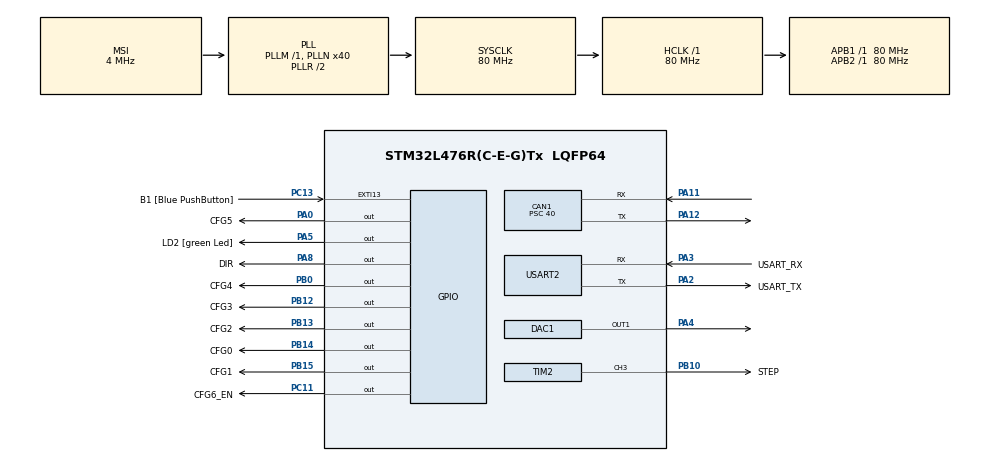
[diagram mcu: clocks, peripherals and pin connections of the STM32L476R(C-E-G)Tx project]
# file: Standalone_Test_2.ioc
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CAN1.BS1=CAN_BS1_8TQ
CAN1.BS2=CAN_BS2_7TQ
CAN1.CalculateBaudRate=125000
CAN1.CalculateTimeBit=8000
CAN1.CalculateTimeQuantum=500.0
CAN1.Prescaler=40
DAC1.DAC_Trigger-DAC_OUT1=DAC_TRIGGER_NONE
FREERTOS.BinarySemaphores01=myBinarySem01,Dynamic,NULL;myBinarySem02,Dynamic,NULL;myBinarySem03,Dynamic,NULL;myBinarySem04,Dynamic,NULL
FREERTOS.Tasks01=defaultTask,24,128,StartDefaultTask,Default,NULL,Dynamic,NULL,NULL;DeferredTask1,32,128,Interpret_CAN_Msg_Id1,Default,NULL,Dynamic,NULL,NULL;DeferredTask2,35,128,Update_Stepper_Motor_Task,Default,NULL,Dynamic,NULL,NULL;DeferredTask3,32,128,Interpret_CAN_Msg_Id2,Default,NULL,Dynamic,NULL,NULL;DeferredTask4,35,128,Update_Standalone_Op_Task,Default,NULL,Dynamic,NULL,NULL
FREERTOS.configIDLE_SHOULD_YIELD=0
FREERTOS.configTOTAL_HEAP_SIZE=4000
FREERTOS.configUSE_NEWLIB_REENTRANT=1
FREERTOS.configUSE_TASK_NOTIFICATIONS=1
Mcu.Family=STM32L4
Mcu.Name=STM32L476R(C-E-G)Tx
Mcu.Package=LQFP64
NVIC.CAN1_RX0_IRQn=true\:6\:0\:true\:false\:true\:true\:true\:true\:true
NVIC.CAN1_RX1_IRQn=true\:6\:0\:true\:false\:true\:true\:true\:true\:true
NVIC.PriorityGroup=NVIC_PRIORITYGROUP_4
NVIC.TIM7_IRQn=true\:15\:0\:true\:false\:true\:false\:false\:true\:true
NVIC.TimeBase=TIM7_IRQn
NVIC.TimeBaseIP=TIM7
PA0.GPIO_Label=CFG5
PA0.GPIO_Speed=GPIO_SPEED_FREQ_MEDIUM
PA0.PinState=GPIO_PIN_SET
PA0.Signal=GPIO_Output
PA11.Mode=CAN_Activate
PA11.Signal=CAN1_RX
PA12.Mode=CAN_Activate
PA12.Signal=CAN1_TX
PA13\ (JTMS-SWDIO).GPIO_Label=TMS
PA13\ (JTMS-SWDIO).Signal=SYS_JTMS-SWDIO
PA14\ (JTCK-SWCLK).GPIO_Label=TCK
PA14\ (JTCK-SWCLK).Signal=SYS_JTCK-SWCLK
PA2.GPIO_Label=USART_TX
PA2.GPIO_Mode=GPIO_MODE_AF_PP
PA2.GPIO_PuPd=GPIO_NOPULL
PA2.GPIO_Speed=GPIO_SPEED_FREQ_VERY_HIGH
PA2.Mode=Asynchronous
PA2.Signal=USART2_TX
PA3.GPIO_Label=USART_RX
PA3.GPIO_Mode=GPIO_MODE_AF_PP
PA3.GPIO_PuPd=GPIO_NOPULL
PA3.GPIO_Speed=GPIO_SPEED_FREQ_VERY_HIGH
PA3.Mode=Asynchronous
PA3.Signal=USART2_RX
PA4.Signal=COMP_DAC11_group
PA5.GPIO_Label=LD2 [green Led]
PA5.GPIO_ModeDefaultOutputPP=GPIO_MODE_OUTPUT_PP
PA5.GPIO_PuPd=GPIO_NOPULL
PA5.GPIO_Speed=GPIO_SPEED_FREQ_LOW
PA5.Signal=GPIO_Output
PA8.GPIO_Label=DIR
PA8.GPIO_Speed=GPIO_SPEED_FREQ_MEDIUM
PA8.Signal=GPIO_Output
PB0.GPIO_Label=CFG4
PB0.GPIO_Speed=GPIO_SPEED_FREQ_MEDIUM
PB0.Signal=GPIO_Output
PB10.GPIO_Label=STEP
PB10.GPIO_Speed=GPIO_SPEED_FREQ_MEDIUM
PB10.Signal=S_TIM2_CH3
PB12.GPIO_Label=CFG3
PB12.GPIO_ModeDefaultOutputPP=GPIO_MODE_OUTPUT_OD
PB12.GPIO_PuPd=GPIO_NOPULL
PB12.GPIO_Speed=GPIO_SPEED_FREQ_MEDIUM
PB12.PinState=GPIO_PIN_SET
PB12.Signal=GPIO_Output
PB13.GPIO_Label=CFG2
PB13.GPIO_Speed=GPIO_SPEED_FREQ_MEDIUM
PB13.PinState=GPIO_PIN_SET
PB13.Signal=GPIO_Output
PB14.GPIO_Label=CFG0
PB14.GPIO_Speed=GPIO_SPEED_FREQ_MEDIUM
PB14.Signal=GPIO_Output
PB15.GPIO_Label=CFG1
PB15.GPIO_ModeDefaultOutputPP=GPIO_MODE_OUTPUT_OD
PB15.GPIO_PuPd=GPIO_NOPULL
PB15.GPIO_Speed=GPIO_SPEED_FREQ_MEDIUM
PB15.PinState=GPIO_PIN_SET
PB15.Signal=GPIO_Output
PB3\ (JTDO-TRACESWO).GPIO_Label=SWO
PB3\ (JTDO-TRACESWO).Signal=SYS_JTDO-SWO
PC11.GPIO_Label=CFG6_EN
PC11.GPIO_ModeDefaultOutputPP=GPIO_MODE_OUTPUT_OD
PC11.GPIO_PuPd=GPIO_NOPULL
PC11.GPIO_Speed=GPIO_SPEED_FREQ_MEDIUM
PC11.PinState=GPIO_PIN_SET
PC11.Signal=GPIO_Output
PC13.GPIO_Label=B1 [Blue PushButton]
PC13.GPIO_ModeDefaultEXTI=GPIO_MODE_IT_FALLING
PC13.GPIO_PuPd=GPIO_NOPULL
PC13.Signal=GPXTI13
PC14-OSC32_IN\ (PC14).Mode=LSE-External-Oscillator
PC14-OSC32_IN\ (PC14).Signal=RCC_OSC32_IN
PC15-OSC32_OUT\ (PC15).Mode=LSE-External-Oscillator
PC15-OSC32_OUT\ (PC15).Signal=RCC_OSC32_OUT
PH0-OSC_IN\ (PH0).Signal=RCC_OSC_IN
PH1-OSC_OUT\ (PH1).Signal=RCC_OSC_OUT
ProjectManager.HeapSize=0x200
ProjectManager.StackSize=0x400
ProjectManager.TargetToolchain=STM32CubeIDE
RCC.ADCFreq_Value=16000000
RCC.AHBFreq_Value=80000000
RCC.APB1Freq_Value=80000000
RCC.APB1TimFreq_Value=80000000
RCC.APB2Freq_Value=80000000
RCC.APB2TimFreq_Value=80000000
RCC.CortexFreq_Value=80000000
RCC.HCLKFreq_Value=80000000
RCC.HSE_VALUE=8000000
RCC.HSI_VALUE=16000000
RCC.MSI_VALUE=4000000
RCC.PLLN=40
RCC.PREFETCH_ENABLE=1
RCC.SYSCLKFreq_VALUE=80000000
RCC.SYSCLKSource=RCC_SYSCLKSOURCE_PLLCLK
RCC.USBFreq_Value=16000000
RCC.VCOOutputFreq_Value=160000000
SH.COMP_DAC11_group.0=DAC1_OUT1,DAC_OUT1
SH.S_TIM2_CH3.0=TIM2_CH3,PWM Generation3 CH3
TIM2.Channel-PWM\ Generation3\ CH3=TIM_CHANNEL_3
TIM2.OCPolarity_3=TIM_OCPOLARITY_HIGH
TIM2.Period=2999
TIM2.Prescaler=999
TIM2.Pulse-PWM\ Generation3\ CH3=1499
USART2.VirtualMode-Asynchronous=VM_ASYNC
VP_FREERTOS_VS_CMSIS_V2.Mode=CMSIS_V2
VP_SYS_VS_tim7.Mode=TIM7
VP_TIM2_VS_ClockSourceINT.Mode=Internal
board=NUCLEO-L476RG

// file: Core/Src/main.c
/* USER CODE BEGIN Header */
/**
  ******************************************************************************
  * @file           : main.c
  * @brief          : Main program body
  ******************************************************************************
  * @attention
  *
  * Copyright (c) 2024 STMicroelectronics.
  * All rights reserved.
  *
  * This software is licensed under terms that can be found in the LICENSE file
  * in the root directory of this software component.
  * If no LICENSE file comes with this software, it is provided AS-IS.
  *
  ******************************************************************************
  */
/* USER CODE END Header */
#include "main.h"
#include "cmsis_os.h"

CAN_HandleTypeDef hcan1;

DAC_HandleTypeDef hdac1;

TIM_HandleTypeDef htim2;

UART_HandleTypeDef huart2;

/* Definitions for defaultTask */
osThreadId_t defaultTaskHandle;
const osThreadAttr_t defaultTask_attributes = {
  .name = "defaultTask",
  .stack_size = 128 * 4,
  .priority = (osPriority_t) osPriorityNormal,
};
/* Definitions for DeferredTask1 */
osThreadId_t DeferredTask1Handle;
const osThreadAttr_t DeferredTask1_attributes = {
  .name = "DeferredTask1",
  .stack_size = 128 * 4,
  .priority = (osPriority_t) osPriorityAboveNormal,
};
/* Definitions for DeferredTask2 */
osThreadId_t DeferredTask2Handle;
const osThreadAttr_t DeferredTask2_attributes = {
  .name = "DeferredTask2",
  .stack_size = 128 * 4,
  .priority = (osPriority_t) osPriorityAboveNormal3,
};
/* Definitions for DeferredTask3 */
osThreadId_t DeferredTask3Handle;
const osThreadAttr_t DeferredTask3_attributes = {
  .name = "DeferredTask3",
  .stack_size = 128 * 4,
  .priority = (osPriority_t) osPriorityAboveNormal,
};
/* Definitions for DeferredTask4 */
osThreadId_t DeferredTask4Handle;
const osThreadAttr_t DeferredTask4_attributes = {
  .name = "DeferredTask4",
  .stack_size = 128 * 4,
  .priority = (osPriority_t) osPriorityAboveNormal3,
};
/* Definitions for myBinarySem01 */
osSemaphoreId_t myBinarySem01Handle;
const osSemaphoreAttr_t myBinarySem01_attributes = {
  .name = "myBinarySem01"
};
/* Definitions for myBinarySem02 */
osSemaphoreId_t myBinarySem02Handle;
const osSemaphoreAttr_t myBinarySem02_attributes = {
  .name = "myBinarySem02"
};
/* Definitions for myBinarySem03 */
osSemaphoreId_t myBinarySem03Handle;
const osSemaphoreAttr_t myBinarySem03_attributes = {
  .name = "myBinarySem03"
};
/* Definitions for myBinarySem04 */
osSemaphoreId_t myBinarySem04Handle;
const osSemaphoreAttr_t myBinarySem04_attributes = {
  .name = "myBinarySem04"
};
/* USER CODE BEGIN PV */
CAN_FilterTypeDef Rx_Filter_0, Rx_Filter_1;
CAN_RxHeaderTypeDef CAN_Rx_Header_Id1, CAN_Rx_Header_Id2;
uint8_t CAN_Rx_Data_Id1[8] = {'\0','\0','\0','\0','\0','\0','\0','\0'};
uint8_t CAN_Rx_Data_Id2[8] = {'\0','\0','\0','\0','\0','\0','\0','\0'};
/* USER CODE END PV */

void SystemClock_Config(void);
static void MX_GPIO_Init(void);
static void MX_USART2_UART_Init(void);
static void MX_TIM2_Init(void);
static void MX_CAN1_Init(void);
static void MX_DAC1_Init(void);
void StartDefaultTask(void *argument);
void Interpret_CAN_Msg_Id1(void *argument);
void Update_Stepper_Motor_Task(void *argument);
void Interpret_CAN_Msg_Id2(void *argument);
void Update_Standalone_Op_Task(void *argument);

/* USER CODE BEGIN PFP */
void Read_CAN_Frame_From_FIFO0(CAN_HandleTypeDef *hcan);
void Read_CAN_Frame_From_FIFO1(CAN_HandleTypeDef *hcan);
/* USER CODE END PFP */

int main(void)
{

  /* MCU Configuration--------------------------------------------------------*/

  /* Reset of all peripherals, Initializes the Flash interface and the Systick. */
  HAL_Init();

  /* Configure the system clock */
  SystemClock_Config();

  /* Initialize all configured peripherals */
  MX_GPIO_Init();
  MX_USART2_UART_Init();
  MX_TIM2_Init();
  MX_CAN1_Init();
  MX_DAC1_Init();
  /* USER CODE BEGIN 2 */
  HAL_CAN_Start(&hcan1);
  HAL_DAC_Start(&hdac1, DAC_CHANNEL_1);
  Init_Stepper_Motor();
  /* USER CODE END 2 */

  /* Init scheduler */
  osKernelInitialize();

  /* Create the semaphores(s) */
  /* creation of myBinarySem01 */
  myBinarySem01Handle = osSemaphoreNew(1, 0, &myBinarySem01_attributes);

  /* creation of myBinarySem02 */
  myBinarySem02Handle = osSemaphoreNew(1, 0, &myBinarySem02_attributes);

  /* creation of myBinarySem03 */
  myBinarySem03Handle = osSemaphoreNew(1, 0, &myBinarySem03_attributes);

  /* creation of myBinarySem04 */
  myBinarySem04Handle = osSemaphoreNew(1, 0, &myBinarySem04_attributes);

  /* Create the thread(s) */
  /* creation of defaultTask */
  defaultTaskHandle = osThreadNew(StartDefaultTask, NULL, &defaultTask_attributes);

  /* creation of DeferredTask1 */
  DeferredTask1Handle = osThreadNew(Interpret_CAN_Msg_Id1, NULL, &DeferredTask1_attributes);

  /* creation of DeferredTask2 */
  DeferredTask2Handle = osThreadNew(Update_Stepper_Motor_Task, NULL, &DeferredTask2_attributes);

  /* creation of DeferredTask3 */
  DeferredTask3Handle = osThreadNew(Interpret_CAN_Msg_Id2, NULL, &DeferredTask3_attributes);

  /* creation of DeferredTask4 */
  DeferredTask4Handle = osThreadNew(Update_Standalone_Op_Task, NULL, &DeferredTask4_attributes);

  /* Start scheduler */
  osKernelStart();

  /* We should never get here as control is now taken by the scheduler */

  /* Infinite loop */
  while (1)
  {

  }
}

void SystemClock_Config(void)
{
  RCC_OscInitTypeDef RCC_OscInitStruct = {0};
  RCC_ClkInitTypeDef RCC_ClkInitStruct = {0};

  /** Configure the main internal regulator output voltage
  */
  if (HAL_PWREx_ControlVoltageScaling(PWR_REGULATOR_VOLTAGE_SCALE1) != HAL_OK)
  {
    Error_Handler();
  }

  /** Configure LSE Drive Capability
  */
  HAL_PWR_EnableBkUpAccess();
  __HAL_RCC_LSEDRIVE_CONFIG(RCC_LSEDRIVE_LOW);

  /** Initializes the RCC Oscillators according to the specified parameters
  * in the RCC_OscInitTypeDef structure.
  */
  RCC_OscInitStruct.OscillatorType = RCC_OSCILLATORTYPE_LSE|RCC_OSCILLATORTYPE_MSI;
  RCC_OscInitStruct.LSEState = RCC_LSE_ON;
  RCC_OscInitStruct.MSIState = RCC_MSI_ON;
  RCC_OscInitStruct.MSICalibrationValue = 0;
  RCC_OscInitStruct.MSIClockRange = RCC_MSIRANGE_6;
  RCC_OscInitStruct.PLL.PLLState = RCC_PLL_ON;
  RCC_OscInitStruct.PLL.PLLSource = RCC_PLLSOURCE_MSI;
  RCC_OscInitStruct.PLL.PLLM = 1;
  RCC_OscInitStruct.PLL.PLLN = 40;
  RCC_OscInitStruct.PLL.PLLP = RCC_PLLP_DIV7;
  RCC_OscInitStruct.PLL.PLLQ = RCC_PLLQ_DIV2;
  RCC_OscInitStruct.PLL.PLLR = RCC_PLLR_DIV2;
  if (HAL_RCC_OscConfig(&RCC_OscInitStruct) != HAL_OK)
  {
    Error_Handler();
  }

  /** Initializes the CPU, AHB and APB buses clocks
  */
  RCC_ClkInitStruct.ClockType = RCC_CLOCKTYPE_HCLK|RCC_CLOCKTYPE_SYSCLK
                              |RCC_CLOCKTYPE_PCLK1|RCC_CLOCKTYPE_PCLK2;
  RCC_ClkInitStruct.SYSCLKSource = RCC_SYSCLKSOURCE_PLLCLK;
  RCC_ClkInitStruct.AHBCLKDivider = RCC_SYSCLK_DIV1;
  RCC_ClkInitStruct.APB1CLKDivider = RCC_HCLK_DIV1;
  RCC_ClkInitStruct.APB2CLKDivider = RCC_HCLK_DIV1;

  if (HAL_RCC_ClockConfig(&RCC_ClkInitStruct, FLASH_LATENCY_4) != HAL_OK)
  {
    Error_Handler();
  }

  /** Enable MSI Auto calibration
  */
  HAL_RCCEx_EnableMSIPLLMode();
}

static void MX_CAN1_Init(void)
{

  hcan1.Instance = CAN1;
  hcan1.Init.Prescaler = 40;
  hcan1.Init.Mode = CAN_MODE_NORMAL;
  hcan1.Init.SyncJumpWidth = CAN_SJW_1TQ;
  hcan1.Init.TimeSeg1 = CAN_BS1_8TQ;
  hcan1.Init.TimeSeg2 = CAN_BS2_7TQ;
  hcan1.Init.TimeTriggeredMode = DISABLE;
  hcan1.Init.AutoBusOff = DISABLE;
  hcan1.Init.AutoWakeUp = DISABLE;
  hcan1.Init.AutoRetransmission = DISABLE;
  hcan1.Init.ReceiveFifoLocked = DISABLE;
  hcan1.Init.TransmitFifoPriority = DISABLE;
  if (HAL_CAN_Init(&hcan1) != HAL_OK)
  {
    Error_Handler();
  }
  /* USER CODE BEGIN CAN1_Init 2 */
  // psc x (tBS1 + tBS2 + 1) = fpclk1 / baud
  // psc x (tBS1 + tBS2 + 1) = 80MHz / 125kHz = 640
  // psc x (8 + 7 + 1) = 640
  // psc = 640 / 16 = 40

  CAN_Rx_Header_Id1.StdId = 0;
  CAN_Rx_Header_Id1.IDE = CAN_ID_STD;
  CAN_Rx_Header_Id1.RTR = CAN_RTR_DATA;
  CAN_Rx_Header_Id1.DLC = 0;

  CAN_Rx_Header_Id2.StdId = 0;
  CAN_Rx_Header_Id2.IDE = CAN_ID_STD;
  CAN_Rx_Header_Id2.RTR = CAN_RTR_DATA;
  CAN_Rx_Header_Id2.DLC = 0;

  Rx_Filter_0.FilterIdHigh = ((uint32_t)0x1C0) << 5;
  Rx_Filter_0.FilterIdLow = 0x0000;
  Rx_Filter_0.FilterMaskIdHigh = ((uint32_t)0x7FF) << 5;
  Rx_Filter_0.FilterMaskIdLow = 0x0000;
  Rx_Filter_0.FilterFIFOAssignment = CAN_FILTER_FIFO0;
  Rx_Filter_0.FilterBank = 0;	// Bank 0
  Rx_Filter_0.FilterMode = CAN_FILTERMODE_IDMASK;
  Rx_Filter_0.FilterScale = CAN_FILTERSCALE_32BIT;
  Rx_Filter_0.FilterActivation = CAN_FILTER_ENABLE;
  HAL_CAN_ConfigFilter(&hcan1, &Rx_Filter_0);

  Rx_Filter_1.FilterIdHigh = ((uint32_t)0x1C1) << 5;
  Rx_Filter_1.FilterIdLow = 0x0000;
  Rx_Filter_1.FilterMaskIdHigh = ((uint32_t)0x7FF) << 5;
  Rx_Filter_1.FilterMaskIdLow = 0x0000;
  Rx_Filter_1.FilterFIFOAssignment = CAN_FILTER_FIFO1;
  Rx_Filter_1.FilterBank = 1;	// Bank 1
  Rx_Filter_1.FilterMode = CAN_FILTERMODE_IDMASK;
  Rx_Filter_1.FilterScale = CAN_FILTERSCALE_32BIT;
  Rx_Filter_1.FilterActivation = CAN_FILTER_ENABLE;
  HAL_CAN_ConfigFilter(&hcan1, &Rx_Filter_1);

  HAL_CAN_ActivateNotification(&hcan1, CAN_IT_RX_FIFO0_MSG_PENDING);
  HAL_CAN_RegisterCallback(&hcan1, HAL_CAN_RX_FIFO0_MSG_PENDING_CB_ID, Read_CAN_Frame_From_FIFO0);
  HAL_CAN_ActivateNotification(&hcan1, CAN_IT_RX_FIFO1_MSG_PENDING);
  HAL_CAN_RegisterCallback(&hcan1, HAL_CAN_RX_FIFO1_MSG_PENDING_CB_ID, Read_CAN_Frame_From_FIFO1);
  /* USER CODE END CAN1_Init 2 */

}

static void MX_DAC1_Init(void)
{

  DAC_ChannelConfTypeDef sConfig = {0};

  /** DAC Initialization
  */
  hdac1.Instance = DAC1;
  if (HAL_DAC_Init(&hdac1) != HAL_OK)
  {
    Error_Handler();
  }

  /** DAC channel OUT1 config
  */
  sConfig.DAC_SampleAndHold = DAC_SAMPLEANDHOLD_DISABLE;
  sConfig.DAC_Trigger = DAC_TRIGGER_NONE;
  sConfig.DAC_OutputBuffer = DAC_OUTPUTBUFFER_ENABLE;
  sConfig.DAC_ConnectOnChipPeripheral = DAC_CHIPCONNECT_DISABLE;
  sConfig.DAC_UserTrimming = DAC_TRIMMING_FACTORY;
  if (HAL_DAC_ConfigChannel(&hdac1, &sConfig, DAC_CHANNEL_1) != HAL_OK)
  {
    Error_Handler();
  }

}

static void MX_TIM2_Init(void)
{

  TIM_ClockConfigTypeDef sClockSourceConfig = {0};
  TIM_MasterConfigTypeDef sMasterConfig = {0};
  TIM_OC_InitTypeDef sConfigOC = {0};

  htim2.Instance = TIM2;
  htim2.Init.Prescaler = 999;
  htim2.Init.CounterMode = TIM_COUNTERMODE_UP;
  htim2.Init.Period = 2999;
  htim2.Init.ClockDivision = TIM_CLOCKDIVISION_DIV1;
  htim2.Init.AutoReloadPreload = TIM_AUTORELOAD_PRELOAD_DISABLE;
  if (HAL_TIM_Base_Init(&htim2) != HAL_OK)
  {
    Error_Handler();
  }
  sClockSourceConfig.ClockSource = TIM_CLOCKSOURCE_INTERNAL;
  if (HAL_TIM_ConfigClockSource(&htim2, &sClockSourceConfig) != HAL_OK)
  {
    Error_Handler();
  }
  if (HAL_TIM_PWM_Init(&htim2) != HAL_OK)
  {
    Error_Handler();
  }
  sMasterConfig.MasterOutputTrigger = TIM_TRGO_RESET;
  sMasterConfig.MasterSlaveMode = TIM_MASTERSLAVEMODE_DISABLE;
  if (HAL_TIMEx_MasterConfigSynchronization(&htim2, &sMasterConfig) != HAL_OK)
  {
    Error_Handler();
  }
  sConfigOC.OCMode = TIM_OCMODE_PWM1;
  sConfigOC.Pulse = 1499;
  sConfigOC.OCPolarity = TIM_OCPOLARITY_HIGH;
  sConfigOC.OCFastMode = TIM_OCFAST_DISABLE;
  if (HAL_TIM_PWM_ConfigChannel(&htim2, &sConfigOC, TIM_CHANNEL_3) != HAL_OK)
  {
    Error_Handler();
  }
  HAL_TIM_MspPostInit(&htim2);

}

static void MX_USART2_UART_Init(void)
{

  huart2.Instance = USART2;
  huart2.Init.BaudRate = 115200;
  huart2.Init.WordLength = UART_WORDLENGTH_8B;
  huart2.Init.StopBits = UART_STOPBITS_1;
  huart2.Init.Parity = UART_PARITY_NONE;
  huart2.Init.Mode = UART_MODE_TX_RX;
  huart2.Init.HwFlowCtl = UART_HWCONTROL_NONE;
  huart2.Init.OverSampling = UART_OVERSAMPLING_16;
  huart2.Init.OneBitSampling = UART_ONE_BIT_SAMPLE_DISABLE;
  huart2.AdvancedInit.AdvFeatureInit = UART_ADVFEATURE_NO_INIT;
  if (HAL_UART_Init(&huart2) != HAL_OK)
  {
    Error_Handler();
  }

}

static void MX_GPIO_Init(void)
{
  LL_EXTI_InitTypeDef EXTI_InitStruct = {0};
  LL_GPIO_InitTypeDef GPIO_InitStruct = {0};

  /* GPIO Ports Clock Enable */
  LL_AHB2_GRP1_EnableClock(LL_AHB2_GRP1_PERIPH_GPIOC);
  LL_AHB2_GRP1_EnableClock(LL_AHB2_GRP1_PERIPH_GPIOH);
  LL_AHB2_GRP1_EnableClock(LL_AHB2_GRP1_PERIPH_GPIOA);
  LL_AHB2_GRP1_EnableClock(LL_AHB2_GRP1_PERIPH_GPIOB);

  /**/
  LL_GPIO_SetOutputPin(CFG5_GPIO_Port, CFG5_Pin);

  /**/
  LL_GPIO_SetOutputPin(GPIOB, CFG3_Pin|CFG2_Pin|CFG1_Pin);

  /**/
  LL_GPIO_SetOutputPin(CFG6_EN_GPIO_Port, CFG6_EN_Pin);

  /**/
  LL_GPIO_ResetOutputPin(GPIOA, LD2_Pin|DIR_Pin);

  /**/
  LL_GPIO_ResetOutputPin(GPIOB, CFG4_Pin|CFG0_Pin);

  /**/
  LL_SYSCFG_SetEXTISource(LL_SYSCFG_EXTI_PORTC, LL_SYSCFG_EXTI_LINE13);

  /**/
  EXTI_InitStruct.Line_0_31 = LL_EXTI_LINE_13;
  EXTI_InitStruct.Line_32_63 = LL_EXTI_LINE_NONE;
  EXTI_InitStruct.LineCommand = ENABLE;
  EXTI_InitStruct.Mode = LL_EXTI_MODE_IT;
  EXTI_InitStruct.Trigger = LL_EXTI_TRIGGER_FALLING;
  LL_EXTI_Init(&EXTI_InitStruct);

  /**/
  LL_GPIO_SetPinPull(B1_GPIO_Port, B1_Pin, LL_GPIO_PULL_NO);

  /**/
  LL_GPIO_SetPinMode(B1_GPIO_Port, B1_Pin, LL_GPIO_MODE_INPUT);

  /**/
  GPIO_InitStruct.Pin = CFG5_Pin|DIR_Pin;
  GPIO_InitStruct.Mode = LL_GPIO_MODE_OUTPUT;
  GPIO_InitStruct.Speed = LL_GPIO_SPEED_FREQ_MEDIUM;
  GPIO_InitStruct.OutputType = LL_GPIO_OUTPUT_PUSHPULL;
  GPIO_InitStruct.Pull = LL_GPIO_PULL_NO;
  LL_GPIO_Init(GPIOA, &GPIO_InitStruct);

  /**/
  GPIO_InitStruct.Pin = LD2_Pin;
  GPIO_InitStruct.Mode = LL_GPIO_MODE_OUTPUT;
  GPIO_InitStruct.Speed = LL_GPIO_SPEED_FREQ_LOW;
  GPIO_InitStruct.OutputType = LL_GPIO_OUTPUT_PUSHPULL;
  GPIO_InitStruct.Pull = LL_GPIO_PULL_NO;
  LL_GPIO_Init(LD2_GPIO_Port, &GPIO_InitStruct);

  /**/
  GPIO_InitStruct.Pin = CFG4_Pin|CFG2_Pin|CFG0_Pin;
  GPIO_InitStruct.Mode = LL_GPIO_MODE_OUTPUT;
  GPIO_InitStruct.Speed = LL_GPIO_SPEED_FREQ_MEDIUM;
  GPIO_InitStruct.OutputType = LL_GPIO_OUTPUT_PUSHPULL;
  GPIO_InitStruct.Pull = LL_GPIO_PULL_NO;
  LL_GPIO_Init(GPIOB, &GPIO_InitStruct);

  /**/
  GPIO_InitStruct.Pin = CFG3_Pin|CFG1_Pin;
  GPIO_InitStruct.Mode = LL_GPIO_MODE_OUTPUT;
  GPIO_InitStruct.Speed = LL_GPIO_SPEED_FREQ_MEDIUM;
  GPIO_InitStruct.OutputType = LL_GPIO_OUTPUT_OPENDRAIN;
  GPIO_InitStruct.Pull = LL_GPIO_PULL_NO;
  LL_GPIO_Init(GPIOB, &GPIO_InitStruct);

  /**/
  GPIO_InitStruct.Pin = CFG6_EN_Pin;
  GPIO_InitStruct.Mode = LL_GPIO_MODE_OUTPUT;
  GPIO_InitStruct.Speed = LL_GPIO_SPEED_FREQ_MEDIUM;
  GPIO_InitStruct.OutputType = LL_GPIO_OUTPUT_OPENDRAIN;
  GPIO_InitStruct.Pull = LL_GPIO_PULL_NO;
  LL_GPIO_Init(CFG6_EN_GPIO_Port, &GPIO_InitStruct);

/* USER CODE BEGIN MX_GPIO_Init_2 */
LL_GPIO_SetPinMode(STEP_GPIO_Port, STEP_Pin, LL_GPIO_MODE_OUTPUT);// if I don't set STEP pin to output a low(0), motor will start moving initially
LL_GPIO_SetPinOutputType(STEP_GPIO_Port, STEP_Pin, LL_GPIO_OUTPUT_PUSHPULL);
LL_GPIO_ResetOutputPin(STEP_GPIO_Port, STEP_Pin);
/* USER CODE END MX_GPIO_Init_2 */
}

/* USER CODE BEGIN 4 */
void Read_CAN_Frame_From_FIFO0(CAN_HandleTypeDef *hcan)
{
	HAL_CAN_GetRxMessage(&hcan1, CAN_RX_FIFO0, &CAN_Rx_Header_Id1, CAN_Rx_Data_Id1);
	if(CAN_Rx_Header_Id1.DLC >= 4){
		osSemaphoreRelease(myBinarySem01Handle);
	}// else something is wrong, don't proceed with interpreting message
}

void Read_CAN_Frame_From_FIFO1(CAN_HandleTypeDef *hcan)
{
	HAL_CAN_GetRxMessage(&hcan1, CAN_RX_FIFO1, &CAN_Rx_Header_Id2, CAN_Rx_Data_Id2);
	if(CAN_Rx_Header_Id2.DLC >= 6){
		osSemaphoreRelease(myBinarySem03Handle);
	}// else something is wrong, don't proceed with interpreting message
}
/* USER CODE END 4 */

void StartDefaultTask(void *argument)
{
  /* USER CODE BEGIN 5 */
  /* Infinite loop */
  for(;;)
  {
    osDelay(osWaitForever);
  }
  /* USER CODE END 5 */
}

void Interpret_CAN_Msg_Id1(void *argument)
{
  /* USER CODE BEGIN Interpret_CAN_Msg_Id1 */
  uint8_t msg_correct_cnt;	// if more message need to be processed I think better use bitwise masking than count
  /* Infinite loop */
  for(;;)
  {
	  osSemaphoreAcquire(myBinarySem01Handle, osWaitForever);
	  // interpret here and fill up hstepmtr
	  msg_correct_cnt = 0;
	  if((CAN_Rx_Data_Id1[0] == STEPPER_MOTOR_STOP) || (CAN_Rx_Data_Id1[0] == STEPPER_MOTOR_START)){
		  msg_correct_cnt++;
		  hstepmtr.run_state = CAN_Rx_Data_Id1[0];
	  }
	  if((CAN_Rx_Data_Id1[1] == MOTOR_DIRECTION_CCW) || (CAN_Rx_Data_Id1[1] == MOTOR_DIRECTION_CW)){
		  msg_correct_cnt++;
		  hstepmtr.direction = CAN_Rx_Data_Id1[1];
	  }
	  if((CAN_Rx_Data_Id1[2] >= MIN_CURRENT_SCALE) && (CAN_Rx_Data_Id1[2] <= MAX_CURRENT_SCALE)){
		  msg_correct_cnt++;
		  hstepmtr.current_scale = CAN_Rx_Data_Id1[2];
	  }
	  if((CAN_Rx_Data_Id1[3] >= MIN_MOTOR_SPEED_RPM) && (CAN_Rx_Data_Id1[3] <= MAX_MOTOR_SPEED_RPM)){
		  msg_correct_cnt++;
		  hstepmtr.speed = CAN_Rx_Data_Id1[3];
	  }
	  if(msg_correct_cnt > 0){
		  osSemaphoreRelease(myBinarySem02Handle);	// pass to the next task
	  }// if 0 (none) of the messages are correct, don't proceed
  }
  /* USER CODE END Interpret_CAN_Msg_Id1 */
}

void Update_Stepper_Motor_Task(void *argument)
{
  /* USER CODE BEGIN Update_Stepper_Motor_Task */
  /* Infinite loop */
  for(;;)
  {
	  osSemaphoreAcquire(myBinarySem02Handle, osWaitForever);
	  Update_Stepper_Motor_Operation();
  }
  /* USER CODE END Update_Stepper_Motor_Task */
}

void Interpret_CAN_Msg_Id2(void *argument)
{
  /* USER CODE BEGIN Interpret_CAN_Msg_Id2 */
  uint8_t msg_correct_cnt;
  /* Infinite loop */
  for(;;)
  {
	  osSemaphoreAcquire(myBinarySem03Handle, osWaitForever);
	  // interpret here and fill up hstepmtr
	  msg_correct_cnt = 0;

	  if(CAN_Rx_Data_Id2[0] <= TOFF_332TCLK)
	  {		msg_correct_cnt++; hstepmtr.standalone_cfg.chopper_off_time = CAN_Rx_Data_Id2[0];	}

	  hstepmtr.standalone_cfg.chopper_mode = CAN_Rx_Data_Id2[1] & MODE_STEALTHCHOP;
	  hstepmtr.standalone_cfg.interpolation = CAN_Rx_Data_Id2[1] & USE_INTERPOLATION;
	  CAN_Rx_Data_Id2[1] &= (MICROSTEP_16 | QUARTERSTEP_4 | HALFSTEP_2 | FULLSTEP_1);
	  if((CAN_Rx_Data_Id2[1] == MICROSTEP_16) || (CAN_Rx_Data_Id2[1] == QUARTERSTEP_4) ||
		 (CAN_Rx_Data_Id2[1] == HALFSTEP_2) || (CAN_Rx_Data_Id2[1] == FULLSTEP_1))
	  {		msg_correct_cnt++; hstepmtr.standalone_cfg.microstep_res = CAN_Rx_Data_Id2[1];	}

	  if(CAN_Rx_Data_Id2[2] <= EXT_SENSE_RES_SCALED_AIN)
	  {		msg_correct_cnt++; hstepmtr.standalone_cfg.current_setting = CAN_Rx_Data_Id2[2];	}

	  if(CAN_Rx_Data_Id2[3] <= HYSTERESIS_END_13)
	  {		msg_correct_cnt++; hstepmtr.standalone_cfg.chopper_hysteresis = CAN_Rx_Data_Id2[3];	}

	  if(CAN_Rx_Data_Id2[4] <= BLANK_TIME_36)
	  {		msg_correct_cnt++; hstepmtr.standalone_cfg.chopper_blank_time = CAN_Rx_Data_Id2[4];	}

	  hstepmtr.standalone_cfg.driver_enable = CAN_Rx_Data_Id2[5] & DRIVER_DISABLE;
	  hstepmtr.standalone_cfg.standstill_pwr_down = CAN_Rx_Data_Id2[5] & STANDSTILL_ON;

	  if(msg_correct_cnt > 0){
		  osSemaphoreRelease(myBinarySem04Handle);	// pass to the next task
	  }// if 0 (none) of the messages are correct, don't proceed
  }
  /* USER CODE END Interpret_CAN_Msg_Id2 */
}

void Update_Standalone_Op_Task(void *argument)
{
  /* USER CODE BEGIN Update_Standalone_Op_Task */
  /* Infinite loop */
  for(;;)
  {
	  osSemaphoreAcquire(myBinarySem04Handle, osWaitForever);
	  Update_Standalone_Configuration();
  }
  /* USER CODE END Update_Standalone_Op_Task */
}

void HAL_TIM_PeriodElapsedCallback(TIM_HandleTypeDef *htim)
{
  if (htim->Instance == TIM7) {
    HAL_IncTick();
  }
}

void Error_Handler(void)
{
  __disable_irq();
  while (1)
  {
  }
}
